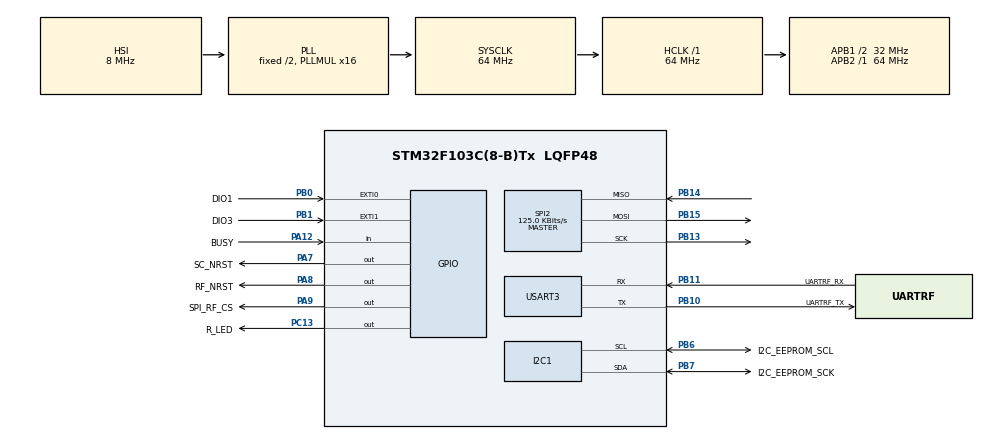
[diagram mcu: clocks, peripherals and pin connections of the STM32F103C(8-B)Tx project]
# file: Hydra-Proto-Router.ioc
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Dma.Request0=USART3_RX
Dma.Request1=USART3_TX
Dma.Request2=SPI2_TX
Dma.Request3=SPI2_RX
Dma.SPI2_RX.3.Direction=DMA_PERIPH_TO_MEMORY
Dma.SPI2_RX.3.Instance=DMA1_Channel4
Dma.SPI2_RX.3.MemDataAlignment=DMA_MDATAALIGN_BYTE
Dma.SPI2_RX.3.MemInc=DMA_MINC_ENABLE
Dma.SPI2_RX.3.Mode=DMA_NORMAL
Dma.SPI2_RX.3.PeriphDataAlignment=DMA_PDATAALIGN_BYTE
Dma.SPI2_RX.3.PeriphInc=DMA_PINC_DISABLE
Dma.SPI2_RX.3.Priority=DMA_PRIORITY_LOW
Dma.SPI2_TX.2.Direction=DMA_MEMORY_TO_PERIPH
Dma.SPI2_TX.2.Instance=DMA1_Channel5
Dma.SPI2_TX.2.MemDataAlignment=DMA_MDATAALIGN_BYTE
Dma.SPI2_TX.2.MemInc=DMA_MINC_ENABLE
Dma.SPI2_TX.2.Mode=DMA_NORMAL
Dma.SPI2_TX.2.PeriphDataAlignment=DMA_PDATAALIGN_BYTE
Dma.SPI2_TX.2.PeriphInc=DMA_PINC_DISABLE
Dma.SPI2_TX.2.Priority=DMA_PRIORITY_LOW
Dma.USART3_RX.0.Direction=DMA_PERIPH_TO_MEMORY
Dma.USART3_RX.0.Instance=DMA1_Channel3
Dma.USART3_RX.0.MemDataAlignment=DMA_MDATAALIGN_BYTE
Dma.USART3_RX.0.MemInc=DMA_MINC_ENABLE
Dma.USART3_RX.0.Mode=DMA_CIRCULAR
Dma.USART3_RX.0.PeriphDataAlignment=DMA_PDATAALIGN_BYTE
Dma.USART3_RX.0.PeriphInc=DMA_PINC_DISABLE
Dma.USART3_RX.0.Priority=DMA_PRIORITY_LOW
Dma.USART3_TX.1.Direction=DMA_MEMORY_TO_PERIPH
Dma.USART3_TX.1.Instance=DMA1_Channel2
Dma.USART3_TX.1.MemDataAlignment=DMA_MDATAALIGN_BYTE
Dma.USART3_TX.1.MemInc=DMA_MINC_ENABLE
Dma.USART3_TX.1.Mode=DMA_NORMAL
Dma.USART3_TX.1.PeriphDataAlignment=DMA_PDATAALIGN_BYTE
Dma.USART3_TX.1.PeriphInc=DMA_PINC_DISABLE
Dma.USART3_TX.1.Priority=DMA_PRIORITY_LOW
Mcu.Family=STM32F1
Mcu.Name=STM32F103C(8-B)Tx
Mcu.Package=LQFP48
NVIC.DMA1_Channel2_IRQn=true\:0\:0\:false\:false\:true\:false\:true\:true
NVIC.DMA1_Channel3_IRQn=true\:0\:0\:false\:false\:true\:false\:true\:true
NVIC.DMA1_Channel4_IRQn=true\:0\:0\:false\:false\:true\:false\:true\:true
NVIC.DMA1_Channel5_IRQn=true\:0\:0\:false\:false\:true\:false\:true\:true
NVIC.EXTI0_IRQn=true\:0\:0\:false\:false\:true\:true\:true\:true
NVIC.PriorityGroup=NVIC_PRIORITYGROUP_4
NVIC.USART3_IRQn=true\:1\:0\:true\:false\:true\:true\:true\:true
PA12.GPIO_Label=BUSY
PA12.Signal=GPIO_Input
PA13.Mode=Serial_Wire
PA13.Signal=SYS_JTMS-SWDIO
PA14.Mode=Serial_Wire
PA14.Signal=SYS_JTCK-SWCLK
PA7.GPIO_Label=SC_NRST
PA7.Signal=GPIO_Output
PA8.GPIO_Label=RF_NRST
PA8.GPIO_PuPd=GPIO_PULLUP
PA8.Signal=GPIO_Output
PA9.GPIO_Label=SPI_RF_CS
PA9.GPIO_PuPd=GPIO_PULLUP
PA9.Signal=GPIO_Output
PB0.GPIO_Label=DIO1
PB0.GPIO_PuPd=GPIO_PULLDOWN
PB0.Signal=GPXTI0
PB1.GPIO_Label=DIO3
PB1.GPIO_PuPd=GPIO_PULLDOWN
PB1.Signal=GPXTI1
PB10.GPIO_Label=UARTRF_TX
PB10.Mode=Asynchronous
PB10.Signal=USART3_TX
PB11.GPIO_Label=UARTRF_RX
PB11.Mode=Asynchronous
PB11.Signal=USART3_RX
PB13.Mode=Full_Duplex_Master
PB13.Signal=SPI2_SCK
PB14.GPIO_PuPd=GPIO_PULLDOWN
PB14.Mode=Full_Duplex_Master
PB14.Signal=SPI2_MISO
PB15.Mode=Full_Duplex_Master
PB15.Signal=SPI2_MOSI
PB6.GPIO_Label=I2C_EEPROM_SCL
PB6.Mode=I2C
PB6.Signal=I2C1_SCL
PB7.GPIO_Label=I2C_EEPROM_SCK
PB7.Mode=I2C
PB7.Signal=I2C1_SDA
PC13-TAMPER-RTC.GPIO_Label=R_LED
PC13-TAMPER-RTC.Signal=GPIO_Output
ProjectManager.HeapSize=0x200
ProjectManager.StackSize=0x400
ProjectManager.TargetToolchain=STM32CubeIDE
RCC.AHBFreq_Value=64000000
RCC.APB1CLKDivider=RCC_HCLK_DIV2
RCC.APB1Freq_Value=32000000
RCC.APB1TimFreq_Value=64000000
RCC.APB2Freq_Value=64000000
RCC.APB2TimFreq_Value=64000000
RCC.HCLKFreq_Value=64000000
RCC.PLLMUL=RCC_PLL_MUL16
RCC.SYSCLKFreq_VALUE=64000000
RCC.SYSCLKSource=RCC_SYSCLKSOURCE_PLLCLK
RCC.USBFreq_Value=64000000
SPI2.BaudRatePrescaler=SPI_BAUDRATEPRESCALER_256
SPI2.CLKPhase=SPI_PHASE_1EDGE
SPI2.CalculateBaudRate=125.0 KBits/s
SPI2.Direction=SPI_DIRECTION_2LINES
SPI2.Mode=SPI_MODE_MASTER
SPI2.VirtualType=VM_MASTER
TIM2.Prescaler=71
TIM2.TIM_MasterOutputTrigger=TIM_TRGO_UPDATE
USART3.VirtualMode=VM_ASYNC
VP_TIM2_VS_ClockSourceINT.Mode=Internal
VP_TIM3_VS_ClockSourceITR.Mode=TriggerSource_ITR1
VP_TIM3_VS_ControllerModeClock.Mode=Clock Mode
board=custom

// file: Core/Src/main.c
/* USER CODE BEGIN Header */
/**
  ******************************************************************************
  * @file           : main.c
  * @brief          : Main program body
  ******************************************************************************
  * @attention
  *
  * Copyright (c) 2026 STMicroelectronics.
  * All rights reserved.
  *
  * This software is licensed under terms that can be found in the LICENSE file
  * in the root directory of this software component.
  * If no LICENSE file comes with this software, it is provided AS-IS.
  *
  ******************************************************************************
  */
/* USER CODE END Header */
#include "main.h"

/* USER CODE BEGIN Includes */
#include "uart_wrapper_stream.h"
#include "sx1268-driver.h"
/* USER CODE END Includes */

I2C_HandleTypeDef hi2c1;

SPI_HandleTypeDef hspi2;
DMA_HandleTypeDef hdma_spi2_tx;
DMA_HandleTypeDef hdma_spi2_rx;

TIM_HandleTypeDef htim2;
TIM_HandleTypeDef htim3;

UART_HandleTypeDef huart3;
DMA_HandleTypeDef hdma_usart3_rx;
DMA_HandleTypeDef hdma_usart3_tx;

/* USER CODE BEGIN PV */
wUART wuart3;
SX1268 radio;
/* USER CODE END PV */

void SystemClock_Config(void);
static void MX_GPIO_Init(void);
static void MX_DMA_Init(void);
static void MX_I2C1_Init(void);
static void MX_USART3_UART_Init(void);
static void MX_SPI2_Init(void);
static void MX_TIM2_Init(void);
static void MX_TIM3_Init(void);
/* USER CODE BEGIN PFP */

uint32_t Get_us_Tickval(void)
{
    uint16_t high1, high2, low;

    do {
        high1 = htim3.Instance->CNT;
        low   = htim2.Instance->CNT;
        high2 = htim3.Instance->CNT;
    } while (high1 != high2);

    return ((uint32_t)high1 << 16) | low;
}

/* USER CODE END PFP */

int main(void)
{

  /* MCU Configuration--------------------------------------------------------*/

  /* Reset of all peripherals, Initializes the Flash interface and the Systick. */
  HAL_Init();

  /* Configure the system clock */
  SystemClock_Config();

  /* Initialize all configured peripherals */
  MX_GPIO_Init();
  MX_DMA_Init();
  MX_I2C1_Init();
  MX_USART3_UART_Init();
  MX_SPI2_Init();
  MX_TIM2_Init();
  MX_TIM3_Init();
  /* USER CODE BEGIN 2 */

  GPIO_t cs_gpio = {
      ._pin = GPIO_PIN_9,
      ._port = GPIOA
  };

  GPIO_t bind_gpio = {
      ._pin = GPIO_PIN_12,
      ._port = GPIOA
  };

  GPIO_t res_gpio = {
      ._pin = GPIO_PIN_8,
      ._port = GPIOA
  };

  GPIO_t dio1_gpio = {
      ._pin = GPIO_PIN_0,
      ._port = GPIOB
  };

  wUART_Init(&wuart3, &huart3);

  SX68_Init(&radio, &hspi2, cs_gpio, res_gpio, bind_gpio);

  SX68_SetStandby(&radio, MODE_STDBY_RC);

  SX68_SetDIO2RFSwitch(&radio, 1);
  SX68_SetIRQMask(&radio, 0x0201, 0x0000, 0x0000);
  SX68_SetDIOxGPIO(&radio, DIO1, dio1_gpio);

  SX68_SetOPType(&radio, TYPE_LoRa);
  SX68_ConfigRF(&radio, 433000000, PA_DC_4, PA_HPmax_6);
  SX68_LoRa_ModConfig(&radio, LoRa_SF7, LoRa_BW_250, LoRa_CR_4_5);
  SX68_SetBufferBase(&radio, 0, 128);
  SX68_LoRa_Params(&radio, 8, LoRa_VariableLenHeader, LoRa_CRC_OFF, LoRa_IQ_Standard);
  SX68_SetTXParameters(&radio, 0, RAMP_200U);

  SX68_ClearIRQStatus(&radio);

  wUART_OpenRXDMA(&wuart3);

  uint8_t num_buf[64];
  uint8_t pckt_cnt = 0;
  uint32_t num = 0;
  uint32_t num_rec;
  uint32_t errs = 0;
  uint32_t trans_timestamp[1024];
  uint32_t err_timestamp[1024];
  uint32_t in_trans = 0;
  uint32_t in_err = 0;

  /* USER CODE END 2 */

  /* Infinite loop */
  /* USER CODE BEGIN WHILE */
  while (1)
  {
      while(FIFO_GetCount(&wuart3._rx_fifo) == 0)
	{
	  __NOP();
	}

      uint32_t us_tick = Get_us_Tickval();

      pckt_cnt = wUART_ReadRXFIFO(&wuart3, num_buf, 64);

      SX68_WriteTXPacket(&radio, num_buf, pckt_cnt);

      SX68_LoRa_PayloadLength(&radio, pckt_cnt);

      SX68_Transmit(&radio, 0);

      while(SX68_GetDIOStatus(&radio, DIO1) != 1)
	{
	  __NOP();
	}

      memcpy(&num_rec, num_buf, 4);

      if(num_rec != num)
	{
	  errs+= (num_rec - num);
	  err_timestamp[in_err] = us_tick;
	  in_err++;
	}

      num = num_rec + 1;
      trans_timestamp[in_trans] = us_tick;
      in_trans++;

      if(in_trans == 1024) break;

    /* USER CODE END WHILE */

  }
  while(1)
    {
    }
}

void SystemClock_Config(void)
{
  RCC_OscInitTypeDef RCC_OscInitStruct = {0};
  RCC_ClkInitTypeDef RCC_ClkInitStruct = {0};

  /** Initializes the RCC Oscillators according to the specified parameters
  * in the RCC_OscInitTypeDef structure.
  */
  RCC_OscInitStruct.OscillatorType = RCC_OSCILLATORTYPE_HSI;
  RCC_OscInitStruct.HSIState = RCC_HSI_ON;
  RCC_OscInitStruct.HSICalibrationValue = RCC_HSICALIBRATION_DEFAULT;
  RCC_OscInitStruct.PLL.PLLState = RCC_PLL_ON;
  RCC_OscInitStruct.PLL.PLLSource = RCC_PLLSOURCE_HSI_DIV2;
  RCC_OscInitStruct.PLL.PLLMUL = RCC_PLL_MUL16;
  if (HAL_RCC_OscConfig(&RCC_OscInitStruct) != HAL_OK)
  {
    Error_Handler();
  }

  /** Initializes the CPU, AHB and APB buses clocks
  */
  RCC_ClkInitStruct.ClockType = RCC_CLOCKTYPE_HCLK|RCC_CLOCKTYPE_SYSCLK
                              |RCC_CLOCKTYPE_PCLK1|RCC_CLOCKTYPE_PCLK2;
  RCC_ClkInitStruct.SYSCLKSource = RCC_SYSCLKSOURCE_PLLCLK;
  RCC_ClkInitStruct.AHBCLKDivider = RCC_SYSCLK_DIV1;
  RCC_ClkInitStruct.APB1CLKDivider = RCC_HCLK_DIV2;
  RCC_ClkInitStruct.APB2CLKDivider = RCC_HCLK_DIV1;

  if (HAL_RCC_ClockConfig(&RCC_ClkInitStruct, FLASH_LATENCY_2) != HAL_OK)
  {
    Error_Handler();
  }
}

static void MX_I2C1_Init(void)
{

  hi2c1.Instance = I2C1;
  hi2c1.Init.ClockSpeed = 100000;
  hi2c1.Init.DutyCycle = I2C_DUTYCYCLE_2;
  hi2c1.Init.OwnAddress1 = 0;
  hi2c1.Init.AddressingMode = I2C_ADDRESSINGMODE_7BIT;
  hi2c1.Init.DualAddressMode = I2C_DUALADDRESS_DISABLE;
  hi2c1.Init.OwnAddress2 = 0;
  hi2c1.Init.GeneralCallMode = I2C_GENERALCALL_DISABLE;
  hi2c1.Init.NoStretchMode = I2C_NOSTRETCH_DISABLE;
  if (HAL_I2C_Init(&hi2c1) != HAL_OK)
  {
    Error_Handler();
  }

}

static void MX_SPI2_Init(void)
{

  /* SPI2 parameter configuration*/
  hspi2.Instance = SPI2;
  hspi2.Init.Mode = SPI_MODE_MASTER;
  hspi2.Init.Direction = SPI_DIRECTION_2LINES;
  hspi2.Init.DataSize = SPI_DATASIZE_8BIT;
  hspi2.Init.CLKPolarity = SPI_POLARITY_LOW;
  hspi2.Init.CLKPhase = SPI_PHASE_1EDGE;
  hspi2.Init.NSS = SPI_NSS_SOFT;
  hspi2.Init.BaudRatePrescaler = SPI_BAUDRATEPRESCALER_256;
  hspi2.Init.FirstBit = SPI_FIRSTBIT_MSB;
  hspi2.Init.TIMode = SPI_TIMODE_DISABLE;
  hspi2.Init.CRCCalculation = SPI_CRCCALCULATION_DISABLE;
  hspi2.Init.CRCPolynomial = 10;
  if (HAL_SPI_Init(&hspi2) != HAL_OK)
  {
    Error_Handler();
  }

}

static void MX_TIM2_Init(void)
{

  TIM_ClockConfigTypeDef sClockSourceConfig = {0};
  TIM_MasterConfigTypeDef sMasterConfig = {0};

  htim2.Instance = TIM2;
  htim2.Init.Prescaler = 71;
  htim2.Init.CounterMode = TIM_COUNTERMODE_UP;
  htim2.Init.Period = 65535;
  htim2.Init.ClockDivision = TIM_CLOCKDIVISION_DIV1;
  htim2.Init.AutoReloadPreload = TIM_AUTORELOAD_PRELOAD_DISABLE;
  if (HAL_TIM_Base_Init(&htim2) != HAL_OK)
  {
    Error_Handler();
  }
  sClockSourceConfig.ClockSource = TIM_CLOCKSOURCE_INTERNAL;
  if (HAL_TIM_ConfigClockSource(&htim2, &sClockSourceConfig) != HAL_OK)
  {
    Error_Handler();
  }
  sMasterConfig.MasterOutputTrigger = TIM_TRGO_UPDATE;
  sMasterConfig.MasterSlaveMode = TIM_MASTERSLAVEMODE_DISABLE;
  if (HAL_TIMEx_MasterConfigSynchronization(&htim2, &sMasterConfig) != HAL_OK)
  {
    Error_Handler();
  }

}

static void MX_TIM3_Init(void)
{

  TIM_SlaveConfigTypeDef sSlaveConfig = {0};
  TIM_MasterConfigTypeDef sMasterConfig = {0};

  htim3.Instance = TIM3;
  htim3.Init.Prescaler = 0;
  htim3.Init.CounterMode = TIM_COUNTERMODE_UP;
  htim3.Init.Period = 65535;
  htim3.Init.ClockDivision = TIM_CLOCKDIVISION_DIV1;
  htim3.Init.AutoReloadPreload = TIM_AUTORELOAD_PRELOAD_DISABLE;
  if (HAL_TIM_Base_Init(&htim3) != HAL_OK)
  {
    Error_Handler();
  }
  sSlaveConfig.SlaveMode = TIM_SLAVEMODE_EXTERNAL1;
  sSlaveConfig.InputTrigger = TIM_TS_ITR1;
  if (HAL_TIM_SlaveConfigSynchro(&htim3, &sSlaveConfig) != HAL_OK)
  {
    Error_Handler();
  }
  sMasterConfig.MasterOutputTrigger = TIM_TRGO_RESET;
  sMasterConfig.MasterSlaveMode = TIM_MASTERSLAVEMODE_DISABLE;
  if (HAL_TIMEx_MasterConfigSynchronization(&htim3, &sMasterConfig) != HAL_OK)
  {
    Error_Handler();
  }

}

static void MX_USART3_UART_Init(void)
{

  huart3.Instance = USART3;
  huart3.Init.BaudRate = 115200;
  huart3.Init.WordLength = UART_WORDLENGTH_8B;
  huart3.Init.StopBits = UART_STOPBITS_1;
  huart3.Init.Parity = UART_PARITY_NONE;
  huart3.Init.Mode = UART_MODE_TX_RX;
  huart3.Init.HwFlowCtl = UART_HWCONTROL_NONE;
  huart3.Init.OverSampling = UART_OVERSAMPLING_16;
  if (HAL_UART_Init(&huart3) != HAL_OK)
  {
    Error_Handler();
  }

}

static void MX_DMA_Init(void)
{

  /* DMA controller clock enable */
  __HAL_RCC_DMA1_CLK_ENABLE();

  /* DMA interrupt init */
  /* DMA1_Channel2_IRQn interrupt configuration */
  HAL_NVIC_SetPriority(DMA1_Channel2_IRQn, 0, 0);
  HAL_NVIC_EnableIRQ(DMA1_Channel2_IRQn);
  /* DMA1_Channel3_IRQn interrupt configuration */
  HAL_NVIC_SetPriority(DMA1_Channel3_IRQn, 0, 0);
  HAL_NVIC_EnableIRQ(DMA1_Channel3_IRQn);
  /* DMA1_Channel4_IRQn interrupt configuration */
  HAL_NVIC_SetPriority(DMA1_Channel4_IRQn, 0, 0);
  HAL_NVIC_EnableIRQ(DMA1_Channel4_IRQn);
  /* DMA1_Channel5_IRQn interrupt configuration */
  HAL_NVIC_SetPriority(DMA1_Channel5_IRQn, 0, 0);
  HAL_NVIC_EnableIRQ(DMA1_Channel5_IRQn);

}

static void MX_GPIO_Init(void)
{
  GPIO_InitTypeDef GPIO_InitStruct = {0};

  /* GPIO Ports Clock Enable */
  __HAL_RCC_GPIOC_CLK_ENABLE();
  __HAL_RCC_GPIOA_CLK_ENABLE();
  __HAL_RCC_GPIOB_CLK_ENABLE();

  /*Configure GPIO pin Output Level */
  HAL_GPIO_WritePin(R_LED_GPIO_Port, R_LED_Pin, GPIO_PIN_RESET);

  /*Configure GPIO pin Output Level */
  HAL_GPIO_WritePin(GPIOA, SC_NRST_Pin|RF_NRST_Pin|SPI_RF_CS_Pin, GPIO_PIN_RESET);

  /*Configure GPIO pin : R_LED_Pin */
  GPIO_InitStruct.Pin = R_LED_Pin;
  GPIO_InitStruct.Mode = GPIO_MODE_OUTPUT_PP;
  GPIO_InitStruct.Pull = GPIO_NOPULL;
  GPIO_InitStruct.Speed = GPIO_SPEED_FREQ_LOW;
  HAL_GPIO_Init(R_LED_GPIO_Port, &GPIO_InitStruct);

  /*Configure GPIO pin : SC_NRST_Pin */
  GPIO_InitStruct.Pin = SC_NRST_Pin;
  GPIO_InitStruct.Mode = GPIO_MODE_OUTPUT_PP;
  GPIO_InitStruct.Pull = GPIO_NOPULL;
  GPIO_InitStruct.Speed = GPIO_SPEED_FREQ_LOW;
  HAL_GPIO_Init(SC_NRST_GPIO_Port, &GPIO_InitStruct);

  /*Configure GPIO pins : DIO1_Pin DIO3_Pin */
  GPIO_InitStruct.Pin = DIO1_Pin|DIO3_Pin;
  GPIO_InitStruct.Mode = GPIO_MODE_IT_RISING;
  GPIO_InitStruct.Pull = GPIO_PULLDOWN;
  HAL_GPIO_Init(GPIOB, &GPIO_InitStruct);

  /*Configure GPIO pins : RF_NRST_Pin SPI_RF_CS_Pin */
  GPIO_InitStruct.Pin = RF_NRST_Pin|SPI_RF_CS_Pin;
  GPIO_InitStruct.Mode = GPIO_MODE_OUTPUT_PP;
  GPIO_InitStruct.Pull = GPIO_PULLUP;
  GPIO_InitStruct.Speed = GPIO_SPEED_FREQ_LOW;
  HAL_GPIO_Init(GPIOA, &GPIO_InitStruct);

  /*Configure GPIO pin : BUSY_Pin */
  GPIO_InitStruct.Pin = BUSY_Pin;
  GPIO_InitStruct.Mode = GPIO_MODE_INPUT;
  GPIO_InitStruct.Pull = GPIO_NOPULL;
  HAL_GPIO_Init(BUSY_GPIO_Port, &GPIO_InitStruct);

  /* EXTI interrupt init*/
  HAL_NVIC_SetPriority(EXTI0_IRQn, 0, 0);
  HAL_NVIC_EnableIRQ(EXTI0_IRQn);

}

void Error_Handler(void)
{
  __disable_irq();
  while (1)
  {
  }
}
